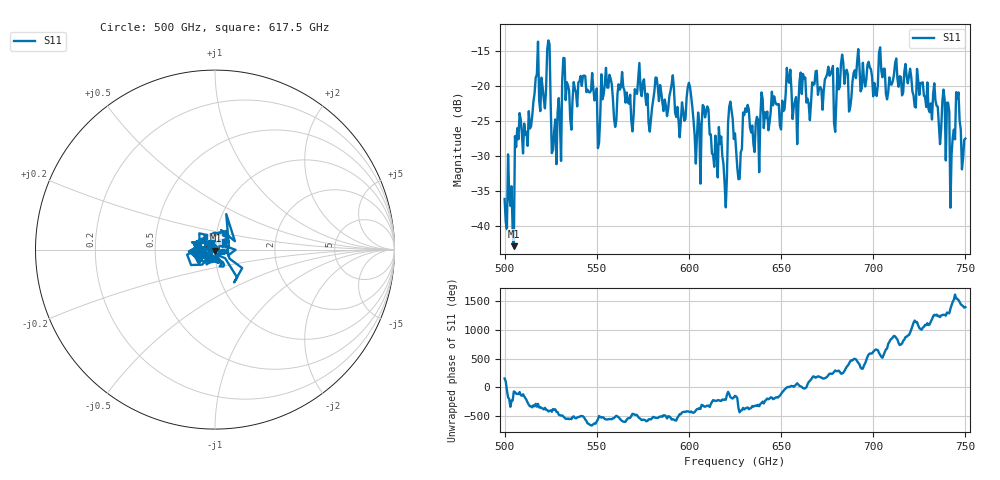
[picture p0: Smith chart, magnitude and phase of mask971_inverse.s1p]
!Created with skrf (http://scikit-rf.org).
# GHz S MA R 50.0
!freq magS11 angS11
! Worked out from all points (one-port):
!   401 points, 500 GHz to 750 GHz, reference 50 ohm
!   lowest |S11| = -42.9 dB at 505 GHz (marker M1), VSWR 1.01, Z = 50.2 - j0.682 ohm
!   |S11| at or under -10 dB: start of sweep to end of sweep
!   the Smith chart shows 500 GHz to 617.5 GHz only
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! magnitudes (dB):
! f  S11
! 500 GHz  -36.2
! 505 GHz  -42.9
! 506.9 GHz  -26.0
! 513.8 GHz  -26.1
! 516.9 GHz  -18.8
! 523.8 GHz  -13.5
! 526.9 GHz  -26.5
! 531.2 GHz  -19.2
! 542.5 GHz  -18.6
! 550.6 GHz  -28.9
! 562.5 GHz  -20.5
! 579.4 GHz  -24.8
! 590.6 GHz  -19.8
! 593.8 GHz  -23.0
! 600 GHz  -19.6
! 605 GHz  -23.8
! 609.4 GHz  -23.7
! 619.4 GHz  -34.0
! 622.5 GHz  -22.2
! 625 GHz  -26.8
! 656.2 GHz  -24.7
! 683.8 GHz  -16.7
! 687.5 GHz  -23.1
! 718.8 GHz  -19.6
! 739.4 GHz  -30.7
! 743.1 GHz  -27.4
! 746.2 GHz  -20.9
! 750 GHz  -27.5
